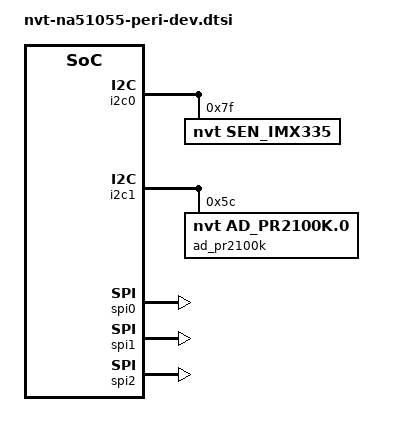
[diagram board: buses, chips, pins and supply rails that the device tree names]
/*
 * Novatek Ltd. NA51055 BSP part of dts
 *
 * Cortex-A9
 *
 */


#include <dt-bindings/gpio/nvt-gpio.h>
#include <dt-bindings/input/input.h>

&i2c0 {
	#address-cells = <1>;
	#size-cells = <0>;

	sen_imx335@0 {
		compatible = "nvt,sen_imx335";
		reg = <0x7F>;                       /* dummy addr */
		path = <0>;
		PRESET {
			expt_time = <10000>;            /* 10000us */
			gain_ratio = <1000>;            /* 1x gain */        
		};
		DIRECTION {
			mirror = <0>;                   /* mirror */
			flip = <0>;                     /* no flip */
		};
		POWER {
			mclk = <0>;                     /* CTL_SEN_CLK_SEL_SIEMCLK */
			pwdn_pin = <0xFFFFFFFF>;        /* no pwdn pin */   
			rst_pin = <S_GPIO(5)>;          /* S_GPIO_4 */
			rst_time = <1>;                 /* 1ms */
			stable_time = <1>;              /* 1ms */
		};
		I2C {
			i2c_id = <0>;                   /* SEN_I2C_ID_1 */
			i2c_addr = <0x1A>;              /* 0x34 >> 1  = 0x1A */
		};
	};
	
};

&i2c1 {
	#address-cells = <1>;
	#size-cells = <0>;

	ad_pr2100k@0 {
		compatible = "nvt,ad_pr2100k.0";
		reg = <0x5C>;
		power_cfg {
		//	mclk_sel = "MCLK3";
		//	rst_pin = "S_GPIO_4";
		//	pwdn_pin; 
		//	rst_time = <500000>;
	   //		stb_time = <500000>;
	
		  //// power on  ////
			io_ctl0 = <0xfffe		0  0>;			// power on sqeuence indicator
			// turn on power pin
			io_ctl1 = <L_GPIO(2)	1 10000>;			// io control description @0~19(max) = <io_pin, level(high(1) or low(0), hold time(us)>
			
			// reset flow
			io_ctl2 = <P_GPIO(11)	1 100000>;
			io_ctl3 = <P_GPIO(11)	0 100000>;		// io control description @0~19(max) = <io_pin, level(high(1) or low(0), hold time(us)>
			io_ctl4 = <P_GPIO(11)   1 100000>;		// io control description @0~19(max) = <io_pin, level(high(1) or low(0), hold time(us)>

			//// power off ////
			io_ctl5 = <0xfffd		0 0>;			// power off sequence indicator
			io_ctl6 = <P_GPIO(11)	0 10>;			// turn off AHD5V_EN
			io_ctl7 = <L_GPIO(2)	0 10>;			// set tp9950 in reset state

		};
	outport@0 {
		inport = <0 1>;
		signal = <1>;///0:parallel 1:mipi
		};
	};


//ad_pr2100k@0 {
//		compatible = "nvt,ad_pr2100k.0";
//		reg = <0x5C>;
//		power_cfg {
//			//mclk_sel = "MCLK3";
//			rst_pin = "P_GPIO_11";
//			pwdn_pin; 
//			rst_time = <500000>;
//			stb_time = <500000>;
//		};
//		outport@0 {
		//for ns2 pr2100k dvp  1?
		//inport = <0>;//
		//signal = <0>; /*0:parallel 1:mipi*/

		//for ns2 pr2100k mipi 2 ?
//		inport = <0 1>;  //??????
//		signal = <1>;  /*0:parallel 1:mipi*/
//		};
//	};
};
&i2c2 {
	#address-cells = <1>;
	#size-cells = <0>;
	

};

&spi0 {
	status = "okay";
	#address-cells = <1>;
	#size-cells = <0>;

/*	dummy_spi_dev: dummy_spi_dev@0 {
		compatible = "dummy_spi_dev.0";
		reg = <0>; // Chip select 0
		spi-max-frequency = <1000000>;
		spi-cpol;
        };
*/
};

&spi1 {
	status = "okay";
};

&spi2 {
	status = "okay";
};
